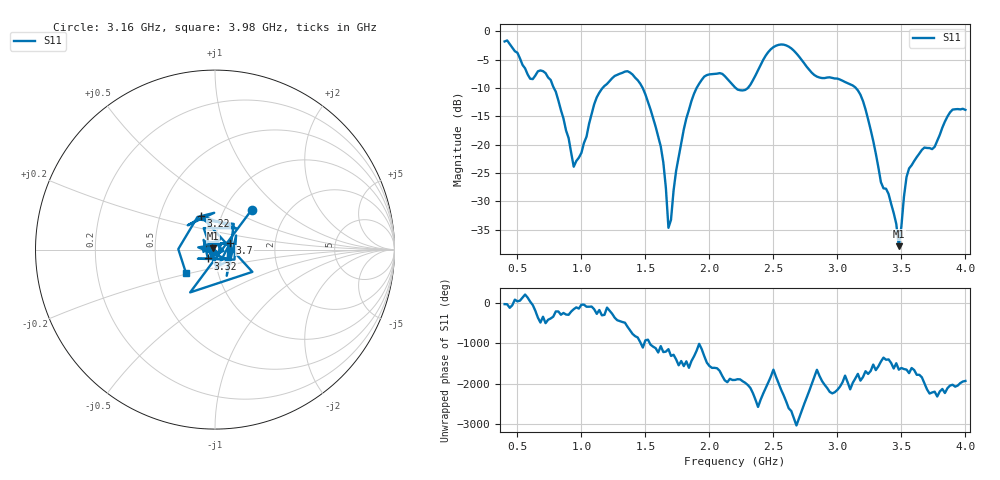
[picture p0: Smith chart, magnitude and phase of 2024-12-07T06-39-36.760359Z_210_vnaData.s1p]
!Created with skrf (http://scikit-rf.org).
# Hz S RI R 50.0
!freq ReS11 ImS11
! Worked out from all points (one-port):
!   181 points, 400 MHz to 4 GHz, reference 50 ohm
!   lowest |S11| = -37.9 dB at 3.48 GHz (marker M1), VSWR 1.03, Z = 48.9 + j0.605 ohm
!   |S11| at or under -10 dB: 784.8 MHz to 1.166 GHz (381 MHz wide, 39.1 % of centre); 1.479 GHz to 1.9 GHz (421.6 MHz wide, 25 % of centre); 3.144 GHz to end of sweep (the widest 3 of 4)
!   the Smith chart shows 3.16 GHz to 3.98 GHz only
!   S11 on the Smith chart (normalised r, x): 3.16 GHz: 1.33, +0.65; 3.22 GHz: 0.80, +0.31; 3.32 GHz: 0.92, -0.09; 3.7 GHz: 1.18, +0.09; 3.98 GHz: 0.70, -0.19
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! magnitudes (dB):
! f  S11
! 400 MHz  -1.8
! 600 MHz  -8.4
! 720 MHz  -7.4
! 860 MHz  -15.4
! 940 MHz  -23.9
! 1.12 GHz  -11.6
! 1.3 GHz  -7.5
! 1.44 GHz  -8.6
! 1.54 GHz  -13.8
! 1.64 GHz  -23.1
! 1.68 GHz  -34.7
! 1.76 GHz  -22.2
! 1.86 GHz  -12.3
! 1.96 GHz  -8.0
! 2.2 GHz  -9.9
! 2.3 GHz  -10.0
! 2.5 GHz  -2.8
! 2.66 GHz  -3.4
! 3.1 GHz  -9.4
! 3.16 GHz  -10.4
! 3.22 GHz  -13.8
! 3.32 GHz  -24.0
! 3.44 GHz  -32.1
! 3.48 GHz  -37.9
! 3.56 GHz  -24.2
! 3.7 GHz  -20.6
! 3.98 GHz  -13.7
! 4 GHz  -13.9
